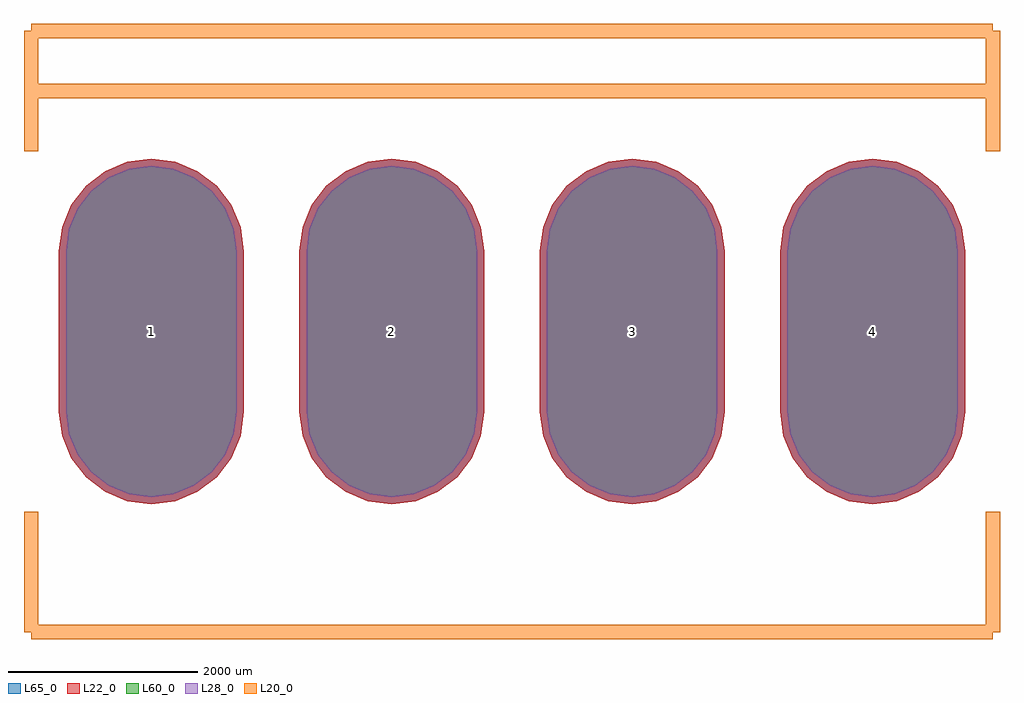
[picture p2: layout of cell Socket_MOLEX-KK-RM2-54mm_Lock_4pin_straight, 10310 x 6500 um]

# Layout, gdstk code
import gdstk
lib = gdstk.Library(unit=1e-6, precision=1e-09)
def P(c, l, *ps):  # polygons
    for p in ps: c.add(gdstk.Polygon(p, *l))
L20_0 = (20, 0)
L22_0 = (22, 0)
L28_0 = (28, 0)
L60_0 = (60, 0)
L65_0 = (65, 0)

socket_molex_kk_rm2_54mm = lib.new_cell('Socket_MOLEX-KK-RM2-54mm_Lock_4pin_straight')
P(socket_molex_kk_rm2_54mm, L22_0, [(3810,-1825.06),(4062.46,-1791.823),(4297.715,-1694.377),(4499.733,-1539.363),(4654.747,-1337.345),(4752.193,-1102.09),(4785.43,-849.63),(4785.43,849.63),(4752.193,1102.09),(4654.747,1337.345),(4499.733,1539.363),(4297.715,1694.377),(4062.46,1791.823),(3810,1825.06),(3557.54,1791.823),(3322.285,1694.377),(3120.267,1539.363),(2965.253,1337.345),(2867.807,1102.09),(2834.57,849.63),(2834.57,-849.63),(2867.807,-1102.09),(2965.253,-1337.345),(3120.267,-1539.363),(3322.285,-1694.377),(3557.54,-1791.823)],
  [(1270,-1825.06),(1522.46,-1791.823),(1757.715,-1694.377),(1959.733,-1539.363),(2114.747,-1337.345),(2212.193,-1102.09),(2245.43,-849.63),(2245.43,849.63),(2212.193,1102.09),(2114.747,1337.345),(1959.733,1539.363),(1757.715,1694.377),(1522.46,1791.823),(1270,1825.06),(1017.54,1791.823),(782.285,1694.377),(580.267,1539.363),(425.253,1337.345),(327.807,1102.09),(294.57,849.63),(294.57,-849.63),(327.807,-1102.09),(425.253,-1337.345),(580.267,-1539.363),(782.285,-1694.377),(1017.54,-1791.823)],
  [(-1270,-1825.06),(-1017.54,-1791.823),(-782.285,-1694.377),(-580.267,-1539.363),(-425.253,-1337.345),(-327.807,-1102.09),(-294.57,-849.63),(-294.57,849.63),(-327.807,1102.09),(-425.253,1337.345),(-580.267,1539.363),(-782.285,1694.377),(-1017.54,1791.823),(-1270,1825.06),(-1522.46,1791.823),(-1757.715,1694.377),(-1959.733,1539.363),(-2114.747,1337.345),(-2212.193,1102.09),(-2245.43,849.63),(-2245.43,-849.63),(-2212.193,-1102.09),(-2114.747,-1337.345),(-1959.733,-1539.363),(-1757.715,-1694.377),(-1522.46,-1791.823)],
  [(-3810,-1825.06),(-3557.54,-1791.823),(-3322.285,-1694.377),(-3120.267,-1539.363),(-2965.253,-1337.345),(-2867.807,-1102.09),(-2834.57,-849.63),(-2834.57,849.63),(-2867.807,1102.09),(-2965.253,1337.345),(-3120.267,1539.363),(-3322.285,1694.377),(-3557.54,1791.823),(-3810,1825.06),(-4062.46,1791.823),(-4297.715,1694.377),(-4499.733,1539.363),(-4654.747,1337.345),(-4752.193,1102.09),(-4785.43,849.63),(-4785.43,-849.63),(-4752.193,-1102.09),(-4654.747,-1337.345),(-4499.733,-1539.363),(-4297.715,-1694.377),(-4062.46,-1791.823)])
P(socket_molex_kk_rm2_54mm, L28_0, [(3810,-1750.06),(4043.048,-1719.379),(4260.215,-1629.425),(4446.7,-1486.33),(4589.795,-1299.845),(4679.749,-1082.678),(4710.43,-849.63),(4710.43,849.63),(4679.749,1082.678),(4589.795,1299.845),(4446.7,1486.33),(4260.215,1629.425),(4043.048,1719.379),(3810,1750.06),(3576.952,1719.379),(3359.785,1629.425),(3173.3,1486.33),(3030.205,1299.845),(2940.251,1082.678),(2909.57,849.63),(2909.57,-849.63),(2940.251,-1082.678),(3030.205,-1299.845),(3173.3,-1486.33),(3359.785,-1629.425),(3576.952,-1719.379)],
  [(1270,-1750.06),(1503.048,-1719.379),(1720.215,-1629.425),(1906.7,-1486.33),(2049.795,-1299.845),(2139.749,-1082.678),(2170.43,-849.63),(2170.43,849.63),(2139.749,1082.678),(2049.795,1299.845),(1906.7,1486.33),(1720.215,1629.425),(1503.048,1719.379),(1270,1750.06),(1036.952,1719.379),(819.785,1629.425),(633.3,1486.33),(490.205,1299.845),(400.251,1082.678),(369.57,849.63),(369.57,-849.63),(400.251,-1082.678),(490.205,-1299.845),(633.3,-1486.33),(819.785,-1629.425),(1036.952,-1719.379)],
  [(-1270,-1750.06),(-1036.952,-1719.379),(-819.785,-1629.425),(-633.3,-1486.33),(-490.205,-1299.845),(-400.251,-1082.678),(-369.57,-849.63),(-369.57,849.63),(-400.251,1082.678),(-490.205,1299.845),(-633.3,1486.33),(-819.785,1629.425),(-1036.952,1719.379),(-1270,1750.06),(-1503.048,1719.379),(-1720.215,1629.425),(-1906.7,1486.33),(-2049.795,1299.845),(-2139.749,1082.678),(-2170.43,849.63),(-2170.43,-849.63),(-2139.749,-1082.678),(-2049.795,-1299.845),(-1906.7,-1486.33),(-1720.215,-1629.425),(-1503.048,-1719.379)],
  [(-3810,-1750.06),(-3576.952,-1719.379),(-3359.785,-1629.425),(-3173.3,-1486.33),(-3030.205,-1299.845),(-2940.251,-1082.678),(-2909.57,-849.63),(-2909.57,849.63),(-2940.251,1082.678),(-3030.205,1299.845),(-3173.3,1486.33),(-3359.785,1629.425),(-3576.952,1719.379),(-3810,1750.06),(-4043.048,1719.379),(-4260.215,1629.425),(-4446.7,1486.33),(-4589.795,1299.845),(-4679.749,1082.678),(-4710.43,849.63),(-4710.43,-849.63),(-4679.749,-1082.678),(-4589.795,-1299.845),(-4446.7,-1486.33),(-4260.215,-1629.425),(-4043.048,-1719.379)])
P(socket_molex_kk_rm2_54mm, L60_0, [(3810,-1750.06),(4043.048,-1719.379),(4260.215,-1629.425),(4446.7,-1486.33),(4589.795,-1299.845),(4679.749,-1082.678),(4710.43,-849.63),(4710.43,849.63),(4679.749,1082.678),(4589.795,1299.845),(4446.7,1486.33),(4260.215,1629.425),(4043.048,1719.379),(3810,1750.06),(3576.952,1719.379),(3359.785,1629.425),(3173.3,1486.33),(3030.205,1299.845),(2940.251,1082.678),(2909.57,849.63),(2909.57,-849.63),(2940.251,-1082.678),(3030.205,-1299.845),(3173.3,-1486.33),(3359.785,-1629.425),(3576.952,-1719.379)],
  [(1270,-1750.06),(1503.048,-1719.379),(1720.215,-1629.425),(1906.7,-1486.33),(2049.795,-1299.845),(2139.749,-1082.678),(2170.43,-849.63),(2170.43,849.63),(2139.749,1082.678),(2049.795,1299.845),(1906.7,1486.33),(1720.215,1629.425),(1503.048,1719.379),(1270,1750.06),(1036.952,1719.379),(819.785,1629.425),(633.3,1486.33),(490.205,1299.845),(400.251,1082.678),(369.57,849.63),(369.57,-849.63),(400.251,-1082.678),(490.205,-1299.845),(633.3,-1486.33),(819.785,-1629.425),(1036.952,-1719.379)],
  [(-1270,-1750.06),(-1036.952,-1719.379),(-819.785,-1629.425),(-633.3,-1486.33),(-490.205,-1299.845),(-400.251,-1082.678),(-369.57,-849.63),(-369.57,849.63),(-400.251,1082.678),(-490.205,1299.845),(-633.3,1486.33),(-819.785,1629.425),(-1036.952,1719.379),(-1270,1750.06),(-1503.048,1719.379),(-1720.215,1629.425),(-1906.7,1486.33),(-2049.795,1299.845),(-2139.749,1082.678),(-2170.43,849.63),(-2170.43,-849.63),(-2139.749,-1082.678),(-2049.795,-1299.845),(-1906.7,-1486.33),(-1720.215,-1629.425),(-1503.048,-1719.379)],
  [(-3810,-1750.06),(-3576.952,-1719.379),(-3359.785,-1629.425),(-3173.3,-1486.33),(-3030.205,-1299.845),(-2940.251,-1082.678),(-2909.57,-849.63),(-2909.57,849.63),(-2940.251,1082.678),(-3030.205,1299.845),(-3173.3,1486.33),(-3359.785,1629.425),(-3576.952,1719.379),(-3810,1750.06),(-4043.048,1719.379),(-4260.215,1629.425),(-4446.7,1486.33),(-4589.795,1299.845),(-4679.749,1082.678),(-4710.43,849.63),(-4710.43,-849.63),(-4679.749,-1082.678),(-4589.795,-1299.845),(-4446.7,-1486.33),(-4260.215,-1629.425),(-4043.048,-1719.379)])
P(socket_molex_kk_rm2_54mm, L65_0, [(3810,-1825.06),(4062.46,-1791.823),(4297.715,-1694.377),(4499.733,-1539.363),(4654.747,-1337.345),(4752.193,-1102.09),(4785.43,-849.63),(4785.43,849.63),(4752.193,1102.09),(4654.747,1337.345),(4499.733,1539.363),(4297.715,1694.377),(4062.46,1791.823),(3810,1825.06),(3557.54,1791.823),(3322.285,1694.377),(3120.267,1539.363),(2965.253,1337.345),(2867.807,1102.09),(2834.57,849.63),(2834.57,-849.63),(2867.807,-1102.09),(2965.253,-1337.345),(3120.267,-1539.363),(3322.285,-1694.377),(3557.54,-1791.823)],
  [(1270,-1825.06),(1522.46,-1791.823),(1757.715,-1694.377),(1959.733,-1539.363),(2114.747,-1337.345),(2212.193,-1102.09),(2245.43,-849.63),(2245.43,849.63),(2212.193,1102.09),(2114.747,1337.345),(1959.733,1539.363),(1757.715,1694.377),(1522.46,1791.823),(1270,1825.06),(1017.54,1791.823),(782.285,1694.377),(580.267,1539.363),(425.253,1337.345),(327.807,1102.09),(294.57,849.63),(294.57,-849.63),(327.807,-1102.09),(425.253,-1337.345),(580.267,-1539.363),(782.285,-1694.377),(1017.54,-1791.823)],
  [(-1270,-1825.06),(-1017.54,-1791.823),(-782.285,-1694.377),(-580.267,-1539.363),(-425.253,-1337.345),(-327.807,-1102.09),(-294.57,-849.63),(-294.57,849.63),(-327.807,1102.09),(-425.253,1337.345),(-580.267,1539.363),(-782.285,1694.377),(-1017.54,1791.823),(-1270,1825.06),(-1522.46,1791.823),(-1757.715,1694.377),(-1959.733,1539.363),(-2114.747,1337.345),(-2212.193,1102.09),(-2245.43,849.63),(-2245.43,-849.63),(-2212.193,-1102.09),(-2114.747,-1337.345),(-1959.733,-1539.363),(-1757.715,-1694.377),(-1522.46,-1791.823)],
  [(-3810,-1825.06),(-3557.54,-1791.823),(-3322.285,-1694.377),(-3120.267,-1539.363),(-2965.253,-1337.345),(-2867.807,-1102.09),(-2834.57,-849.63),(-2834.57,849.63),(-2867.807,1102.09),(-2965.253,1337.345),(-3120.267,1539.363),(-3322.285,1694.377),(-3557.54,1791.823),(-3810,1825.06),(-4062.46,1791.823),(-4297.715,1694.377),(-4499.733,1539.363),(-4654.747,1337.345),(-4752.193,1102.09),(-4785.43,849.63),(-4785.43,-849.63),(-4752.193,-1102.09),(-4654.747,-1337.345),(-4499.733,-1539.363),(-4297.715,-1694.377),(-4062.46,-1791.823)])
socket_molex_kk_rm2_54mm.add(gdstk.FlexPath([(-5080,-3175),(-5080,-1905)], 149.998, ends="flush", simple_path=True, layer=20, datatype=0))  # L20_0
socket_molex_kk_rm2_54mm.add(gdstk.FlexPath([(5080,-3175),(-5080,-3175)], 149.998, ends="flush", simple_path=True, layer=20, datatype=0))  # L20_0
socket_molex_kk_rm2_54mm.add(gdstk.FlexPath([(5080,3175),(5080,1905)], 149.998, ends="flush", simple_path=True, layer=20, datatype=0))  # L20_0
socket_molex_kk_rm2_54mm.add(gdstk.FlexPath([(-5080,3175),(5080,3175)], 149.998, ends="flush", simple_path=True, layer=20, datatype=0))  # L20_0
socket_molex_kk_rm2_54mm.add(gdstk.FlexPath([(-5080,1905),(-5080,3175)], 149.998, ends="flush", simple_path=True, layer=20, datatype=0))  # L20_0
socket_molex_kk_rm2_54mm.add(gdstk.FlexPath([(5080,-1905),(5080,-3175)], 149.998, ends="flush", simple_path=True, layer=20, datatype=0))  # L20_0
socket_molex_kk_rm2_54mm.add(gdstk.FlexPath([(5080,2540),(-5080,2540)], 149.998, ends="flush", simple_path=True, layer=20, datatype=0))  # L20_0
socket_molex_kk_rm2_54mm.add(gdstk.Label('4', (3810,0), layer=28, texttype=0))
socket_molex_kk_rm2_54mm.add(gdstk.Label('3', (1270,0), layer=28, texttype=0))
socket_molex_kk_rm2_54mm.add(gdstk.Label('2', (-1270,0), layer=28, texttype=0))
socket_molex_kk_rm2_54mm.add(gdstk.Label('1', (-3810,0), layer=28, texttype=0))
socket_molex_kk_rm2_54mm.add(gdstk.Label('type', (0,-5080), layer=9, texttype=0))
socket_molex_kk_rm2_54mm.add(gdstk.Label('devicename', (0,5080), layer=9, texttype=0))

lib.write_gds('Socket_MOLEX-KK-RM2-54mm_Lock_4pin_straight.gds')
